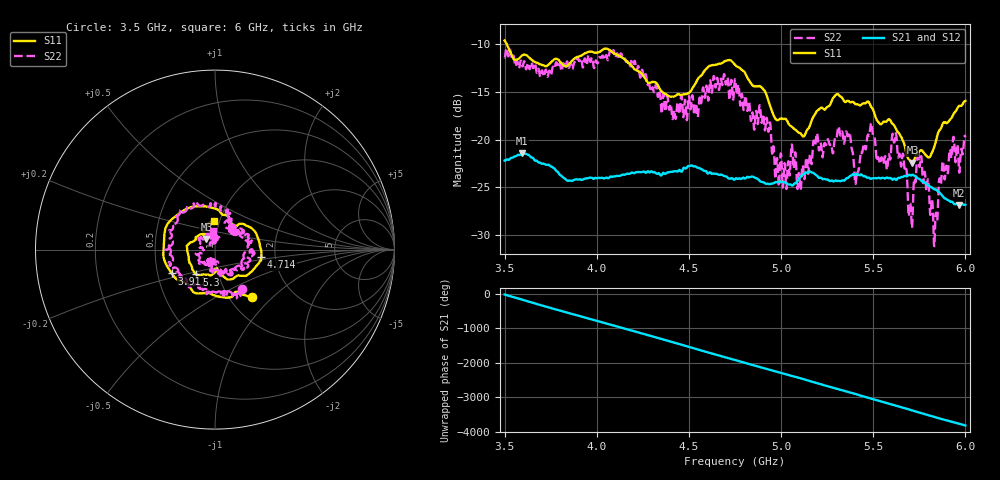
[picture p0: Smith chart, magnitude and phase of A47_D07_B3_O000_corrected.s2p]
! Created with skrf 1.9.0 (http://scikit-rf.org).
# Hz S RI R 50.0
!freq ReS11 ImS11 ReS21 ImS21 ReS12 ImS12 ReS22 ImS22
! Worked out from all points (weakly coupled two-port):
!   1601 points, 3.5 GHz to 6 GHz, reference 50 ohm
!   highest |S21| = -21.41 dB at 3.594 GHz (marker M1); lowest = -26.8 dB at 5.967 GHz (marker M2)
!   lowest |S11| = -22.4 dB at 5.713 GHz (marker M3), VSWR 1.16, Z = 45.2 + j5.36 ohm
!   |S11| at or under -10 dB: 3.512 GHz to end of sweep
!   |S22| runs from -31.2 to -10.4 dB; largest |S21 - S12| = 0.00093
!   S11 on the Smith chart (normalised r, x): 3.5 GHz: 1.27, -0.75; 3.911 GHz: 0.59, -0.17; 4.714 GHz: 1.69, -0.15; 5.3 GHz: 0.78, -0.22; 6 GHz: 0.94, +0.31
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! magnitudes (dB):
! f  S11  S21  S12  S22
! 3.5 GHz  -9.6  -22.2  -22.2  -11.4
! 3.594 GHz  -11.2  -21.4  -21.4  -12.1
! 3.911 GHz  -11.2  -24.2  -24.1  -11.5
! 3.917 GHz  -11.2  -24.2  -24.2  -11.7
! 4.334 GHz  -14.4  -23.5  -23.4  -15.3
! 4.714 GHz  -11.6  -24.0  -24.1  -14.2
! 4.75 GHz  -12.1  -24.1  -24.1  -13.7
! 4.931 GHz  -16.0  -24.6  -24.6  -19.2
! 4.98 GHz  -18.0  -24.5  -24.4  -22.1
! 5.167 GHz  -17.9  -23.4  -23.4  -22.4
! 5.3 GHz  -15.2  -24.3  -24.3  -19.9
! 5.366 GHz  -15.9  -24.0  -23.9  -19.5
! 5.409 GHz  -16.3  -23.6  -23.5  -23.7
! 5.483 GHz  -16.3  -24.1  -24.0  -18.9
! 5.584 GHz  -17.8  -24.0  -24.0  -21.5
! 5.616 GHz  -18.6  -24.1  -24.0  -20.2
! 5.713 GHz  -22.4  -23.7  -23.6  -28.7
! 5.75 GHz  -21.2  -24.1  -24.1  -22.8
! 5.838 GHz  -20.3  -25.2  -25.2  -28.0
! 5.869 GHz  -18.8  -25.7  -25.7  -24.4
! 5.967 GHz  -16.4  -26.8  -26.8  -23.4
! 6 GHz  -15.9  -26.8  -26.8  -19.8
